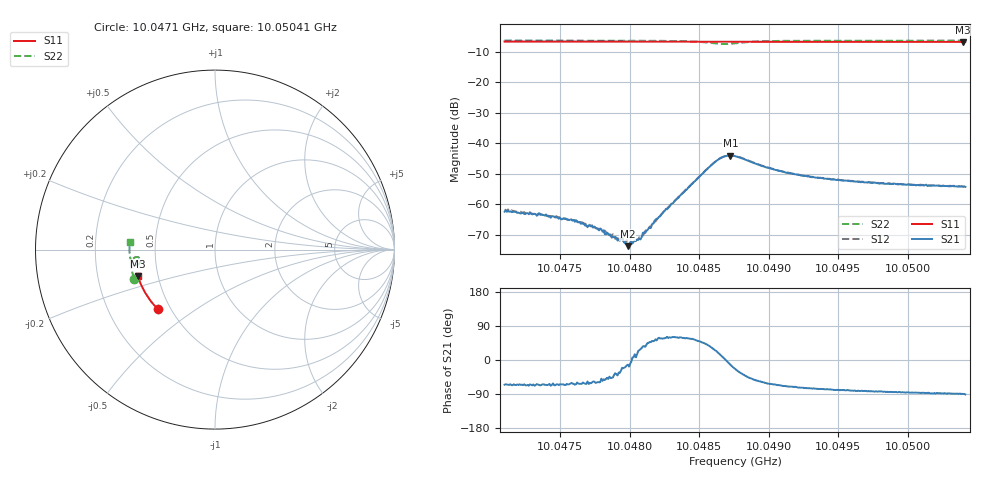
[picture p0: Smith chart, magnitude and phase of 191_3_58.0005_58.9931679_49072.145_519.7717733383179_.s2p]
#  HZ  S  RI  R  50.00
! Rohde & Schwarz Vector Network Analyzer
! Rohde-Schwarz,ZNB20-2Port,1311601062101988,3.16
! Created: UTC 3/21/2024, 12:58:51 AM
! freq[Hz]  re:S11  im:S11  re:S21  im:S21  re:S12  im:S12  re:S22  im:S22
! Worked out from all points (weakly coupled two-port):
!   401 points, 10.0471 GHz to 10.05041 GHz, reference 50 ohm
!   highest |S21| = -44.01 dB at 10.04872 GHz (marker M1); lowest = -73.6 dB at 10.04799 GHz (marker M2)
!   lowest |S11| = -6.8 dB at 10.0504 GHz (marker M3), VSWR 2.67, Z = 19.2 - j7.21 ohm
!   |S11| at or under -10 dB: nowhere
!   |S22| runs from -7.6 to -6.4 dB; largest |S21 - S12| = 0.00046
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1.00471e10  -0.3176 -0.3334  0.000321 -0.00069  0.000388 -0.000731  -0.4513 -0.1612
1.0047365e10  -0.3297 -0.3206  0.000282 -0.000618  0.000331 -0.000601  -0.4566 -0.1435
1.0047597e10  -0.34 -0.309  0.000256 -0.000498  0.000291 -0.000477  -0.4608 -0.1275
1.0047655e10  -0.3425 -0.3061  0.00022 -0.000431  0.000269 -0.000434  -0.4615 -0.1233
1.0047796e10  -0.3484 -0.2988  0.000256 -0.000298  0.000243 -0.000304  -0.4635 -0.113
1.0047854e10  -0.3508 -0.2959  0.000228 -0.000221  0.000234 -0.000214  -0.4643 -0.1087
1.004787e10  -0.3514 -0.2949  0.000195 -0.000211  0.000238 -0.000187  -0.4645 -0.1073
1.0047912e10  -0.3531 -0.2928  0.000195 -0.000168  0.000235 -0.000149  -0.4648 -0.1041
1.0047945e10  -0.3545 -0.2911  0.00027 -0.000101  0.000227 -0.00014  -0.4651 -0.1014
1.0047986e10  -0.3562 -0.2889  0.000203 -4.44e-05  0.000219 -2.44e-05  -0.4657 -0.0982
1.0048003e10  -0.3566 -0.2879  0.000238 -4.18e-05  0.000225 -7.56e-06  -0.4657 -0.0971
1.0048069e10  -0.3595 -0.2845  0.000248 0.000121  0.000261 0.000134  -0.466 -0.0914
1.004821e10  -0.365 -0.277  0.000326 0.000536  0.000325 0.000523  -0.4662 -0.0785
1.00486e10  -0.379 -0.2554  0.00402 0.00234  0.00392 0.00259  -0.431 -0.0413
1.0048666e10  -0.381 -0.2519  0.00582 0.000897  0.0058 0.00124  -0.4162 -0.0535
1.0048724e10  -0.3829 -0.2488  0.00615 -0.00139  0.00628 -0.000952  -0.4168 -0.072
1.0048757e10  -0.3842 -0.2471  0.00568 -0.00245  0.00585 -0.00207  -0.4232 -0.0796
1.0049055e10  -0.3944 -0.2303  0.0015 -0.00331  0.00171 -0.00324  -0.4665 -0.0627
1.0049312e10  -0.4023 -0.2151  0.000706 -0.0027  0.000896 -0.0027  -0.4735 -0.0388
1.0049867e10  -0.4175 -0.1818  0.00021 -0.00217  0.000348 -0.00219  -0.4766 0.00341
1.0050398e10  -0.4294 -0.149  7.8e-06 -0.00196  0.000101 -0.00194  -0.4748 0.0402
1.0050414e10  -0.4299 -0.148  -2.74e-05 -0.00194  0.000125 -0.00197  -0.4748 0.0413
